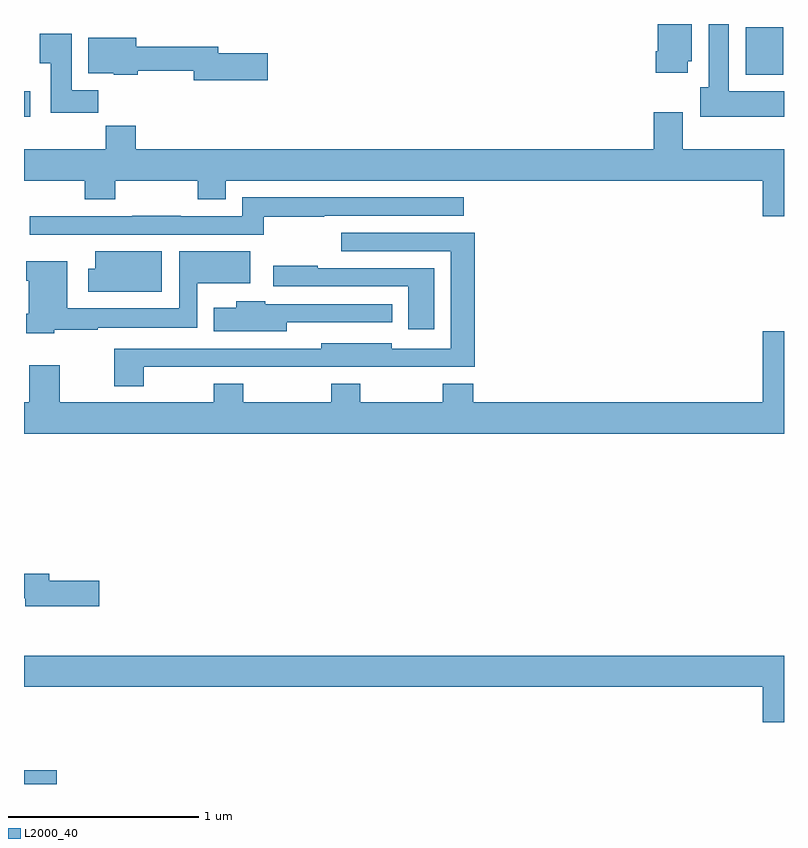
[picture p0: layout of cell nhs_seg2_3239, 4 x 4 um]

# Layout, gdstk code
import gdstk
lib = gdstk.Library(unit=1e-6, precision=1e-09)
def R(c, l, rs):  # rectangles x0, y0, x1, y1
    for r in rs: c.add(gdstk.rectangle(r[:2], r[2:], *l))
def P(c, l, *ps):  # polygons
    for p in ps: c.add(gdstk.Polygon(p, *l))
L2000_40 = (2000, 40)

nhs_seg2_3239 = lib.new_cell('nhs_seg2_3239')
R(nhs_seg2_3239, L2000_40, [(281,637.8,281.173,637.872), (281,641.312,281.032,641.446), (284.799,641.534,284.995,641.784)])
P(nhs_seg2_3239, L2000_40, [(284.494,641.604),(284.515,641.604),(284.515,641.8),(284.336,641.8),(284.336,641.656),(284.324,641.656),(284.324,641.544),(284.494,641.544)],
  [(285,641.446),(284.71,641.446),(284.71,641.8),(284.603,641.8),(284.603,641.466),(284.558,641.466),(284.558,641.312),(285,641.312)],
  [(281.39,641.452),(281.251,641.452),(281.251,641.749),(281.084,641.749),(281.084,641.593),(281.141,641.593),(281.141,641.334),(281.39,641.334)],
  [(282.283,641.645),(282.022,641.645),(282.022,641.681),(281.59,641.681),(281.59,641.728),(281.339,641.728),(281.339,641.54),(281.472,641.54),(281.472,641.534),(281.598,641.534),(281.598,641.553),(281.894,641.553),(281.894,641.503),(282.283,641.503)],
  [(285,641.14),(284.467,641.14),(284.467,641.335),(284.315,641.335),(284.315,641.14),(281.588,641.14),(281.588,641.264),(281.431,641.264),(281.431,641.14),(281,641.14),(281,640.976),(281.321,640.976),(281.321,640.877),(281.481,640.877),(281.481,640.976),(281.914,640.976),(281.914,640.877),(282.061,640.877),(282.061,640.976),(284.888,640.976),(284.888,640.788),(285,640.788)],
  [(281.279,640.692),(282.263,640.692),(282.263,640.786),(282.581,640.786),(282.581,640.791),(283.315,640.791),(283.315,640.887),(282.149,640.887),(282.149,640.788),(281.825,640.788),(281.825,640.79),(281.569,640.79),(281.569,640.788),(281.031,640.788),(281.031,640.691),(281.279,640.691)],
  [(281.631,639.995),(281.909,639.995),(281.909,639.996),(282.241,639.996),(282.241,639.995),(282.564,639.995),(282.564,639.996),(282.936,639.996),(282.936,639.995),(283.373,639.995),(283.373,640.701),(282.669,640.701),(282.669,640.605),(283.247,640.605),(283.247,640.092),(282.936,640.092),(282.936,640.12),(282.564,640.12),(282.564,640.092),(281.476,640.092),(281.476,639.894),(281.631,639.894)],
  [(281.159,640.192),(281.387,640.192),(281.387,640.202),(281.913,640.202),(281.913,640.436),(282.19,640.436),(282.19,640.603),(281.817,640.603),(281.817,640.303),(281.227,640.303),(281.227,640.552),(281.012,640.552),(281.012,640.448),(281.024,640.448),(281.024,640.276),(281.012,640.276),(281.012,640.172),(281.159,640.172)],
  [(281.725,640.603),(281.375,640.603),(281.375,640.513),(281.339,640.513),(281.339,640.391),(281.725,640.391)],
  [(283.159,640.515),(282.547,640.515),(282.547,640.528),(282.311,640.528),(282.311,640.419),(283.022,640.419),(283.022,640.194),(283.159,640.194)],
  [(282.382,640.23),(282.937,640.23),(282.937,640.326),(282.27,640.326),(282.27,640.341),(282.116,640.341),(282.116,640.306),(281.998,640.306),(281.998,640.184),(282.382,640.184)],
  [(285,640.183),(284.888,640.183),(284.888,639.808),(283.364,639.808),(283.364,639.907),(283.204,639.907),(283.204,639.808),(282.771,639.808),(282.771,639.907),(282.616,639.907),(282.616,639.808),(282.153,639.808),(282.153,639.907),(281.998,639.907),(281.998,639.808),(281.187,639.808),(281.187,640.003),(281.027,640.003),(281.027,639.808),(281,639.808),(281,639.644),(285,639.644)],
  [(281.395,638.87),(281.134,638.87),(281.134,638.906),(281,638.906),(281,638.778),(281.006,638.778),(281.006,638.735),(281.395,638.735)],
  [(285,638.476),(281,638.476),(281,638.312),(284.888,638.312),(284.888,638.124),(285,638.124)])

lib.write_gds('nhs_seg2_3239.gds')
